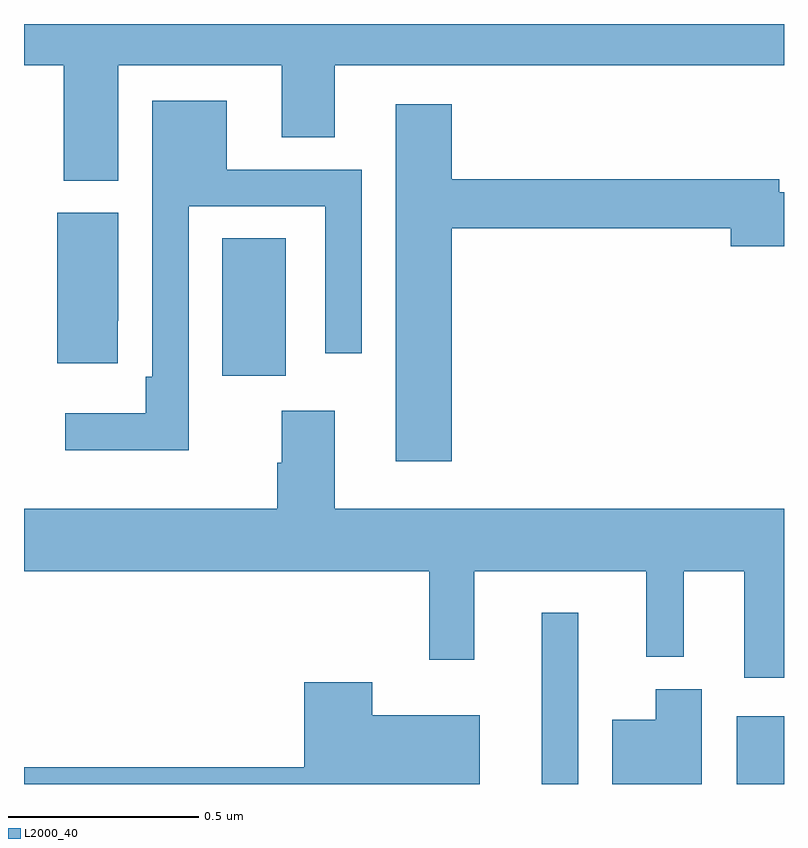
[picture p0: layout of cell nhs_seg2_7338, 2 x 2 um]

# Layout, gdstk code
import gdstk
lib = gdstk.Library(unit=1e-6, precision=1e-09)
def R(c, l, rs):  # rectangles x0, y0, x1, y1
    for r in rs: c.add(gdstk.rectangle(r[:2], r[2:], *l))
def P(c, l, *ps):  # polygons
    for p in ps: c.add(gdstk.Polygon(p, *l))
L2000_40 = (2000, 40)

nhs_seg2_7338 = lib.new_cell('nhs_seg2_7338')
R(nhs_seg2_7338, L2000_40, [(204.362,589.8,204.459,590.251), (204.875,589.8,205,589.978), (203.522,590.874,203.689,591.236)])
P(nhs_seg2_7338, L2000_40, [(203.248,591.692),(203.678,591.692),(203.678,591.502),(203.818,591.502),(203.818,591.692),(205,591.692),(205,591.8),(203,591.8),(203,591.692),(203.105,591.692),(203.105,591.388),(203.248,591.388)],
  [(203.433,591.321),(203.793,591.321),(203.793,590.934),(203.889,590.934),(203.889,591.417),(203.533,591.417),(203.533,591.598),(203.337,591.598),(203.337,590.872),(203.321,590.872),(203.321,590.776),(203.109,590.776),(203.109,590.678),(203.433,590.678)],
  [(204.125,591.262),(204.86,591.262),(204.86,591.215),(205,591.215),(205,591.357),(204.988,591.357),(204.988,591.391),(204.125,591.391),(204.125,591.589),(203.978,591.589),(203.978,590.649),(204.125,590.649)],
  [(203.247,591.019),(203.248,591.019),(203.248,591.303),(203.087,591.303),(203.087,590.907),(203.247,590.907)],
  [(205,590.524),(203.818,590.524),(203.818,590.782),(203.678,590.782),(203.678,590.645),(203.666,590.645),(203.666,590.524),(203,590.524),(203,590.36),(204.067,590.36),(204.067,590.127),(204.185,590.127),(204.185,590.36),(204.638,590.36),(204.638,590.135),(204.736,590.135),(204.736,590.36),(204.896,590.36),(204.896,590.079),(205,590.079)],
  [(204.199,589.981),(203.916,589.981),(203.916,590.068),(203.738,590.068),(203.738,589.844),(203,589.844),(203,589.8),(204.199,589.8)],
  [(204.784,590.05),(204.662,590.05),(204.662,589.969),(204.548,589.969),(204.548,589.8),(204.784,589.8)])

lib.write_gds('nhs_seg2_7338.gds')
